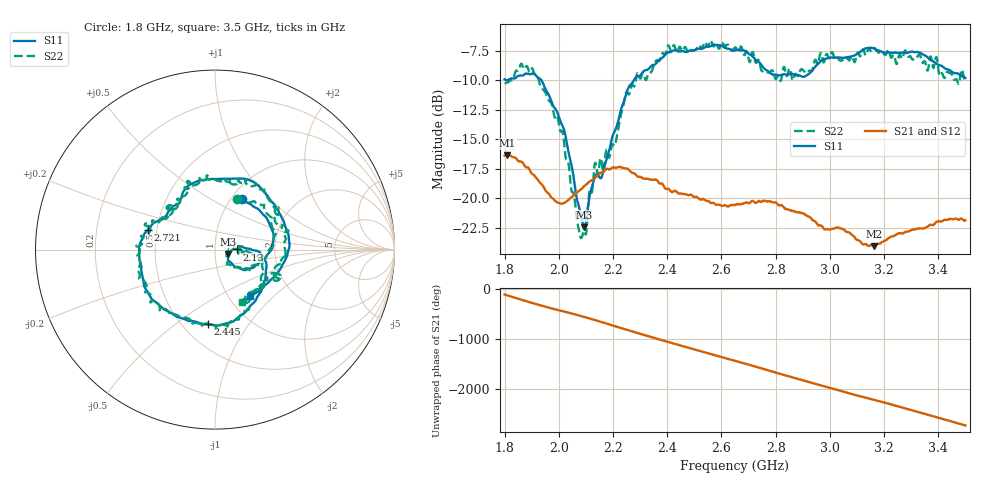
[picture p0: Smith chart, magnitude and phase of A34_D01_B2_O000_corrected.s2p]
! Created with skrf 1.9.0 (http://scikit-rf.org).
# Hz S RI R 50.0
!freq ReS11 ImS11 ReS21 ImS21 ReS12 ImS12 ReS22 ImS22
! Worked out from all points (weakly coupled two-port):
!   1601 points, 1.8 GHz to 3.5 GHz, reference 50 ohm
!   highest |S21| = -16.34 dB at 1.81 GHz (marker M1); lowest = -24.0 dB at 3.162 GHz (marker M2)
!   lowest |S11| = -22.4 dB at 2.093 GHz (marker M3), VSWR 1.16, Z = 57.6 - j2.78 ohm
!   |S11| at or under -10 dB: 1.805676 GHz to 1.809449 GHz (3.773 MHz wide, 0.209 % of centre); 1.935 GHz to 2.277 GHz (341.5 MHz wide, 16.2 % of centre)
!   |S22| runs from -23.4 to -6.6 dB; largest |S21 - S12| = 0.0029
!   S11 on the Smith chart (normalised r, x): 1.8 GHz: 1.12, +0.70; 2.13 GHz: 1.27, +0.00; 2.445 GHz: 0.66, -0.66; 2.721 GHz: 0.44, +0.11; 3.5 GHz: 1.26, -0.72
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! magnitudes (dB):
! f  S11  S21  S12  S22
! 1.8 GHz  -9.9  -16.4  -16.4  -10.3
! 1.81 GHz  -10.0  -16.3  -16.4  -10.2
! 1.859 GHz  -9.6  -16.9  -17.0  -8.6
! 1.901 GHz  -9.5  -17.9  -17.8  -9.0
! 1.969 GHz  -11.6  -19.8  -19.8  -11.8
! 2.021 GHz  -14.3  -20.4  -20.4  -15.6
! 2.084 GHz  -21.6  -19.2  -19.2  -23.3
! 2.093 GHz  -22.4  -19.0  -19.0  -22.7
! 2.13 GHz  -18.4  -18.3  -18.3  -17.4
! 2.16 GHz  -18.1  -17.8  -17.7  -17.3
! 2.208 GHz  -14.2  -17.4  -17.4  -15.4
! 2.259 GHz  -10.5  -17.6  -17.6  -11.2
! 2.367 GHz  -8.3  -18.6  -18.6  -8.4
! 2.445 GHz  -7.6  -19.6  -19.6  -7.2
! 2.65 GHz  -7.5  -20.5  -20.5  -7.2
! 2.721 GHz  -8.2  -20.3  -20.2  -8.1
! 2.812 GHz  -9.6  -20.6  -20.5  -9.7
! 2.934 GHz  -9.2  -21.8  -21.8  -9.2
! 3.162 GHz  -7.3  -24.0  -24.0  -7.3
! 3.217 GHz  -7.7  -23.3  -23.3  -7.5
! 3.328 GHz  -7.6  -22.5  -22.5  -7.8
! 3.5 GHz  -9.8  -21.8  -21.9  -9.7
